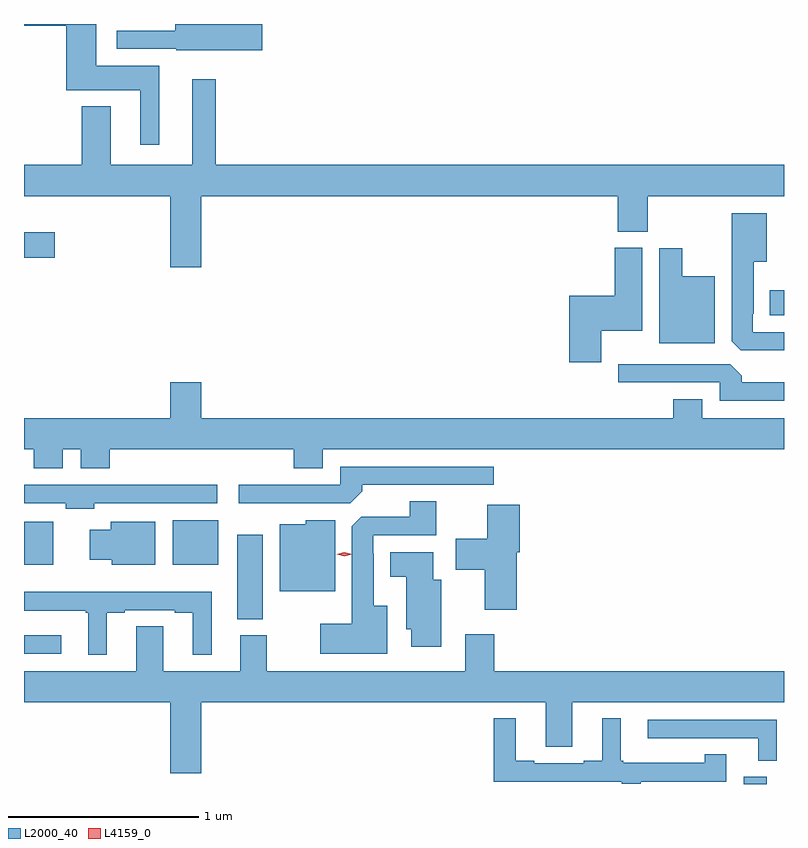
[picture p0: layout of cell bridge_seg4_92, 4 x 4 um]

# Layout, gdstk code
import gdstk
lib = gdstk.Library(unit=1e-6, precision=1e-09)
def R(c, l, rs):  # rectangles x0, y0, x1, y1
    for r in rs: c.add(gdstk.rectangle(r[:2], r[2:], *l))
def P(c, l, *ps):  # polygons
    for p in ps: c.add(gdstk.Polygon(p, *l))
L2000_40 = (2000, 40)
L4159_0 = (4159, 0)

bridge_seg4_92 = lib.new_cell('bridge_seg4_92')
R(bridge_seg4_92, L2000_40, [(443.75,788.398,443.872,788.436), (439.963,789.084,440.158,789.18), (441.086,789.265,441.22,789.709), (439.963,789.551,440.116,789.778), (440.747,789.551,440.986,789.787), (443.888,790.865,443.963,790.996), (439.963,791.168,440.125,791.302)])
P(bridge_seg4_92, L2000_40, [(440.674,792.178),(440.344,792.178),(440.344,792.398),(439.963,792.398),(439.963,792.389),(440.186,792.389),(440.186,792.05),(440.576,792.05),(440.576,791.763),(440.674,791.763)],
  [(441.217,792.398),(440.759,792.398),(440.759,792.363),(440.451,792.363),(440.451,792.267),(440.763,792.267),(440.763,792.26),(441.217,792.26)],
  [(440.896,791.492),(443.087,791.492),(443.087,791.305),(443.247,791.305),(443.247,791.492),(443.963,791.492),(443.963,791.656),(440.971,791.656),(440.971,792.106),(440.849,792.106),(440.849,791.656),(440.419,791.656),(440.419,791.965),(440.267,791.965),(440.267,791.656),(439.963,791.656),(439.963,791.492),(440.732,791.492),(440.732,791.118),(440.896,791.118)],
  [(443.963,790.776),(443.799,790.776),(443.799,790.873),(443.803,790.873),(443.803,791.147),(443.872,791.147),(443.872,791.401),(443.687,791.401),(443.687,790.729),(443.736,790.68),(443.963,790.68)],
  [(443.002,790.784),(443.218,790.784),(443.218,791.22),(443.072,791.22),(443.072,790.969),(442.832,790.969),(442.832,790.617),(443.002,790.617)],
  [(443.599,791.071),(443.428,791.071),(443.428,791.218),(443.306,791.218),(443.306,790.718),(443.599,790.718)],
  [(443.963,790.512),(443.741,790.512),(443.741,790.546),(443.679,790.608),(443.091,790.608),(443.091,790.512),(443.625,790.512),(443.625,790.416),(443.963,790.416)],
  [(440.167,790.16),(440.261,790.16),(440.261,790.061),(440.414,790.061),(440.414,790.16),(441.383,790.16),(441.383,790.061),(441.535,790.061),(441.535,790.16),(443.963,790.16),(443.963,790.324),(443.533,790.324),(443.533,790.423),(443.381,790.423),(443.381,790.324),(440.896,790.324),(440.896,790.513),(440.732,790.513),(440.732,790.324),(439.963,790.324),(439.963,790.16),(440.015,790.16),(440.015,790.061),(440.167,790.061)],
  [(441.743,789.938),(441.743,789.972),(442.435,789.972),(442.435,790.068),(441.627,790.068),(441.627,789.972),(441.093,789.972),(441.093,789.876),(441.681,789.876)],
  [(440.334,789.876),(440.98,789.876),(440.98,789.974),(440.434,789.974),(440.434,789.972),(439.963,789.972),(439.963,789.876),(440.184,789.876),(440.184,789.848),(440.334,789.848)],
  [(441.874,789.337),(441.805,789.337),(441.805,789.611),(441.801,789.611),(441.801,789.708),(442.132,789.708),(442.132,789.887),(441.992,789.887),(441.992,789.804),(441.738,789.804),(441.689,789.755),(441.689,789.241),(441.522,789.241),(441.522,789.083),(441.874,789.083)],
  [(442.556,789.619),(442.571,789.619),(442.571,789.868),(442.4,789.868),(442.4,789.688),(442.236,789.688),(442.236,789.526),(442.388,789.526),(442.388,789.315),(442.556,789.315)],
  [(441.601,789.787),(441.447,789.787),(441.447,789.766),(441.308,789.766),(441.308,789.413),(441.601,789.413)],
  [(440.653,789.778),(440.42,789.778),(440.42,789.736),(440.309,789.736),(440.309,789.578),(440.424,789.578),(440.424,789.551),(440.653,789.551)],
  [(442.159,789.472),(442.117,789.472),(442.117,789.619),(441.89,789.619),(441.89,789.488),(441.974,789.488),(441.974,789.213),(442.001,789.213),(442.001,789.12),(442.159,789.12)],
  [(440.398,789.3),(440.494,789.3),(440.494,789.312),(440.756,789.312),(440.756,789.3),(440.852,789.3),(440.852,789.077),(440.95,789.077),(440.95,789.409),(439.963,789.409),(439.963,789.311),(440.289,789.311),(440.289,789.3),(440.3,789.3),(440.3,789.077),(440.398,789.077)],
  [(440.896,788.828),(442.709,788.828),(442.709,788.593),(442.849,788.593),(442.849,788.828),(443.963,788.828),(443.963,788.992),(442.439,788.992),(442.439,789.187),(442.286,789.187),(442.286,788.992),(441.241,788.992),(441.241,789.18),(441.101,789.18),(441.101,788.992),(440.695,788.992),(440.695,789.227),(440.555,789.227),(440.555,788.992),(439.963,788.992),(439.963,788.828),(440.732,788.828),(440.732,788.454),(440.896,788.454)],
  [(443.21,788.411),(443.659,788.411),(443.659,788.555),(443.546,788.555),(443.546,788.509),(443.116,788.509),(443.116,788.521),(443.104,788.521),(443.104,788.743),(443.006,788.743),(443.006,788.521),(442.91,788.521),(442.91,788.508),(442.648,788.508),(442.648,788.521),(442.552,788.521),(442.552,788.743),(442.435,788.743),(442.435,788.411),(443.11,788.411),(443.11,788.4),(443.21,788.4)],
  [(443.926,788.736),(443.247,788.736),(443.247,788.64),(443.828,788.64),(443.828,788.521),(443.926,788.521)])
P(bridge_seg4_92, L4159_0, [(441.649,789.597),(441.608,789.606),(441.608,789.606),(441.608,789.607),(441.649,789.617),(441.69,789.607),(441.69,789.607),(441.69,789.607)])

lib.write_gds('bridge_seg4_92.gds')
